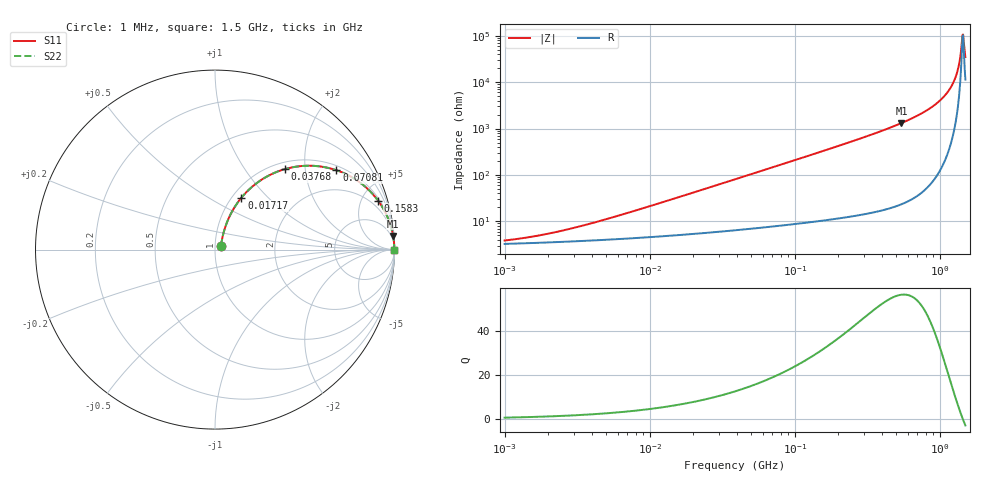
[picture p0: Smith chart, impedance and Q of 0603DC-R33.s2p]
# MHz  S  MA  R  50
!Freq  MagS11  AngS11  MagS21  AngS21  MagS12  AngS12  MagS22  AngS22
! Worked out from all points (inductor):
!   801 points, 1 MHz to 1.5 GHz, reference 50 ohm
!   read as one part in series: L = 330 nH near 6 MHz
!   highest Q = 56.3 at 543.8 MHz (marker M1), where L = 385 nH
!   self-resonance near 1.433 GHz
!   S11 on the Smith chart (normalised r, x): 1 MHz: 1.07, +0.04; 17.17 MHz: 1.10, +0.71; 37.68 MHz: 1.13, +1.56; 70.81 MHz: 1.16, +2.94; 158.3 MHz: 1.21, +6.64; 1.5 GHz: open
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1  0.03745 31.3  0.9682 -1.2  0.9682 -1.2  0.03745 31.3
1.795094  0.04915 44.9  0.9658 -2.1  0.9658 -2.1  0.04915 44.9
3.404045  0.07695 58.0  0.9614 -3.9  0.9614 -3.9  0.07695 58.0
11.48208  0.226 66.0  0.9313 -12.8  0.9313 -12.8  0.226 66.0
17.16744  0.324 63.0  0.9007 -18.7  0.9007 -18.7  0.324 63.0
25.43433  0.4491 57.3  0.8465 -26.5  0.8465 -26.5  0.4491 57.3
37.68212  0.5942 49.0  0.7575 -36.3  0.7575 -36.3  0.5942 49.0
38.72983  0.6045 48.4  0.7499 -37.1  0.7499 -37.1  0.6045 48.4
70.80651  0.808 33.2  0.5482 -53.8  0.5482 -53.8  0.808 33.2
131.8381  0.9297 19.7  0.337 -68.3  0.337 -68.3  0.9297 19.7
158.2863  0.9494 16.6  0.2856 -71.6  0.2856 -71.6  0.9494 16.6
444.6989  0.9934 5.6  0.09746 -83.3  0.09746 -83.3  0.9934 5.6
543.7617  0.9958 4.3  0.07573 -84.6  0.07573 -84.6  0.9958 4.3
820.4719  0.9984 2.3  0.03965 -86.5  0.03965 -86.5  0.9984 2.3
1069.54  0.999 1.2  0.02022 -86.7  0.02022 -86.7  0.999 1.2
1193.544  0.9991 0.7  0.01268 -85.7  0.01268 -85.7  0.9991 0.7
1284.101  0.9992 0.4  0.007748 -83.5  0.007748 -83.5  0.9992 0.4
1344.157  0.9991 0.3  0.004711 -79.5  0.004711 -79.5  0.9991 0.3
1394.217  0.9991 0.1  0.002352 -68.2  0.002352 -68.2  0.9991 0.1
1419.942  0.9991 0.1  0.001306 -47.5  0.001306 -47.5  0.9991 0.1
1459.422  0.9991 -0.0  0.001257 43.8  0.001257 43.8  0.9991 -0.0
1500  0.9991 -0.2  0.002861 70.8  0.002861 70.8  0.9991 -0.2
